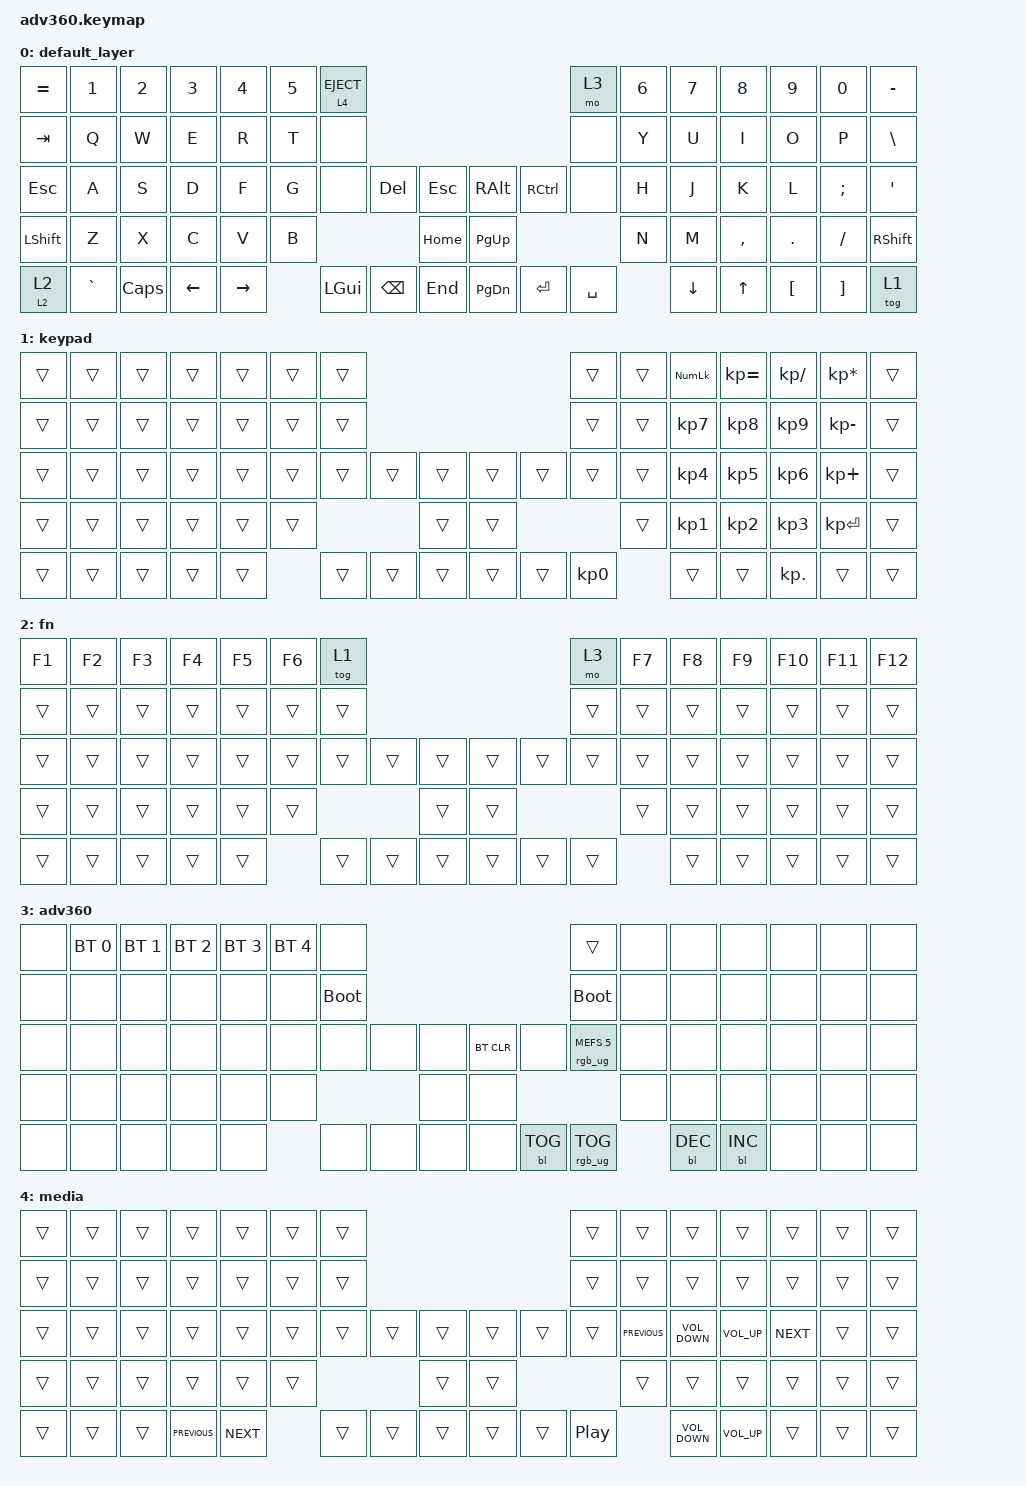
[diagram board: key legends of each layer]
#include <behaviors.dtsi>
#include <dt-bindings/zmk/backlight.h>
#include <dt-bindings/zmk/bt.h>
#include <dt-bindings/zmk/keys.h>
#include <dt-bindings/zmk/rgb.h>

/ {
    behaviors {
        #include "macros.dtsi"
        #include "version.dtsi"
        #ifndef VERSION_MACRO

        macro_ver: macro_ver {
            compatible = "zmk,behavior-macro";
            label = "macro_version";
            #binding-cells = <0>;
            bindings = <&kp RET>;
        };

        #endif

        hm: homerow_mods {
            compatible = "zmk,behavior-hold-tap";
            label = "HOMEROW_MODS";
            #binding-cells = <2>;
            tapping-term-ms = <200>;
            quick_tap_ms = <175>;
            flavor = "tap-preferred";
            bindings = <&kp>, <&kp>;
        };

        mo_tog: mo_tog {
            compatible = "zmk,behavior-hold-tap";
            label = "MO_TOG";
            bindings = <&mo>, <&tog>;

            #binding-cells = <2>;
            tapping-term-ms = <200>;
        };
    };

    macros {
    };

    keymap {
        compatible = "zmk,keymap";

        default_layer {
            bindings = <
&kp EQUAL    &kp N1     &kp N2    &kp N3    &kp N4     &kp N5  &lt 4 C_EJECT                                                     &mo 3      &kp N6  &kp N7    &kp N8     &kp N9    &kp N0    &kp MINUS
&kp TAB      &kp Q      &kp W     &kp E     &kp R      &kp T   &none                                                             &none      &kp Y   &kp U     &kp I      &kp O     &kp P     &kp BSLH
&kp ESC      &kp A      &kp S     &kp D     &kp F      &kp G   &none          &kp DELETE     &kp ESC       &kp RALT   &kp RCTRL  &none      &kp H   &kp J     &kp K      &kp L     &kp SEMI  &kp SQT
&kp LSHFT    &kp Z      &kp X     &kp C     &kp V      &kp B                                 &kp HOME      &kp PG_UP                        &kp N   &kp M     &kp COMMA  &kp DOT   &kp FSLH  &kp RSHFT
&mo_tog 2 2  &kp GRAVE  &kp CAPS  &kp LEFT  &kp RIGHT          &kp LGUI       &kp BACKSPACE  &kp END       &kp PG_DN  &kp ENTER  &kp SPACE          &kp DOWN  &kp UP     &kp LBKT  &kp RBKT  &tog 1
            >;
        };

        keypad {
            bindings = <
&trans  &trans  &trans  &trans  &trans  &trans  &trans                                      &trans     &trans  &kp KP_NUM  &kp KP_EQUAL  &kp KP_DIVIDE  &kp KP_MULTIPLY  &trans
&trans  &trans  &trans  &trans  &trans  &trans  &trans                                      &trans     &trans  &kp KP_N7   &kp KP_N8     &kp KP_N9      &kp KP_MINUS     &trans
&trans  &trans  &trans  &trans  &trans  &trans  &trans  &trans  &trans      &trans  &trans  &trans     &trans  &kp KP_N4   &kp KP_N5     &kp KP_N6      &kp KP_PLUS      &trans
&trans  &trans  &trans  &trans  &trans  &trans                  &trans      &trans                     &trans  &kp KP_N1   &kp KP_N2     &kp KP_N3      &kp KP_ENTER     &trans
&trans  &trans  &trans  &trans  &trans          &trans  &trans  &trans      &trans  &trans  &kp KP_N0          &trans      &trans        &kp KP_DOT     &trans           &trans
            >;
        };

        fn {
            bindings = <
&kp F1  &kp F2  &kp F3  &kp F4  &kp F5  &kp F6  &tog 1                                      &mo 3   &kp F7  &kp F8  &kp F9  &kp F10  &kp F11  &kp F12
&trans  &trans  &trans  &trans  &trans  &trans  &trans                                      &trans  &trans  &trans  &trans  &trans   &trans   &trans
&trans  &trans  &trans  &trans  &trans  &trans  &trans  &trans  &trans      &trans  &trans  &trans  &trans  &trans  &trans  &trans   &trans   &trans
&trans  &trans  &trans  &trans  &trans  &trans                  &trans      &trans                  &trans  &trans  &trans  &trans   &trans   &trans
&trans  &trans  &trans  &trans  &trans          &trans  &trans  &trans      &trans  &trans  &trans          &trans  &trans  &trans   &trans   &trans
            >;
        };

        adv360 {
            bindings = <
&none  &bt BT_SEL 0  &bt BT_SEL 1  &bt BT_SEL 2  &bt BT_SEL 3  &bt BT_SEL 4  &none                                                  &trans                  &none  &none       &none       &none  &none  &none
&none  &none         &none         &none         &none         &none         &bootloader                                            &bootloader             &none  &none       &none       &none  &none  &none
&none  &none         &none         &none         &none         &none         &none        &none  &none      &bt BT_CLR  &none       &rgb_ug RGB_MEFS_CMD 5  &none  &none       &none       &none  &none  &none
&none  &none         &none         &none         &none         &none                             &none      &none                                           &none  &none       &none       &none  &none  &none
&none  &none         &none         &none         &none                       &none        &none  &none      &none       &bl BL_TOG  &rgb_ug RGB_TOG                &bl BL_DEC  &bl BL_INC  &none  &none  &none
            >;
        };

        media {
            bindings = <
&trans  &trans  &trans  &trans          &trans      &trans  &trans                                      &trans            &trans          &trans             &trans           &trans      &trans  &trans
&trans  &trans  &trans  &trans          &trans      &trans  &trans                                      &trans            &trans          &trans             &trans           &trans      &trans  &trans
&trans  &trans  &trans  &trans          &trans      &trans  &trans  &trans  &trans      &trans  &trans  &trans            &kp C_PREVIOUS  &kp C_VOLUME_DOWN  &kp C_VOLUME_UP  &kp C_NEXT  &trans  &trans
&trans  &trans  &trans  &trans          &trans      &trans                  &trans      &trans                            &trans          &trans             &trans           &trans      &trans  &trans
&trans  &trans  &trans  &kp C_PREVIOUS  &kp C_NEXT          &trans  &trans  &trans      &trans  &trans  &kp C_PLAY_PAUSE                  &kp C_VOLUME_DOWN  &kp C_VOLUME_UP  &trans      &trans  &trans
            >;
        };
    };
};
